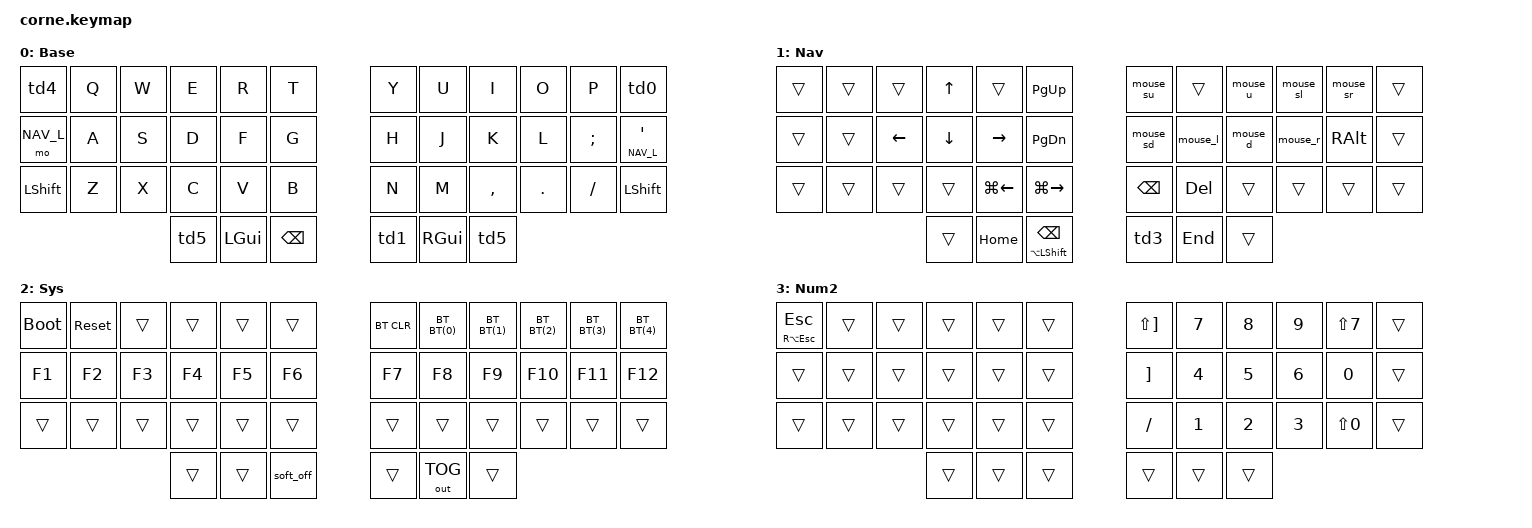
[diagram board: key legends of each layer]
/*
 * Copyright (c) 2022 Pete Johanson
 *
 * SPDX-License-Identifier: MIT
 */

// GLOBE as RA(ESC) via double tap + remapping in Karabiner / mouse pointer, scrolling and keys via remapping in Karabiner

#include <behaviors.dtsi>
#include <dt-bindings/zmk/keys.h>
#include <dt-bindings/zmk/bt.h>
#include <dt-bindings/zmk/outputs.h>

#define NAV_L 1
#define SYS_L 2
#define NUM_R 3

// Using layer taps on thumbs, having quick tap as well helps w/ repeating space/backspace
&lt { quick_tap_ms = <200>; };

#define BT(n) BT_SEL n

/ {
  macros {
        mouse_l: mouse_l {
            compatible = "zmk,behavior-macro";
            #binding-cells = <0>;
            bindings
                = <&macro_press &kp CAPSLOCK>
		, <&macro_press &kp J>
		, <&macro_pause_for_release>
		, <&macro_release &kp J>
                , <&macro_release &kp CAPSLOCK>
                ;
        };
	mouse_u: mouse_u {
            compatible = "zmk,behavior-macro";
            #binding-cells = <0>;
            bindings
                = <&macro_press &kp CAPSLOCK>
		, <&macro_press &kp I>
		, <&macro_pause_for_release>
		, <&macro_release &kp I>
                , <&macro_release &kp CAPSLOCK>
                ;
        };
	mouse_d: mouse_d {
            compatible = "zmk,behavior-macro";
            #binding-cells = <0>;
            bindings
                = <&macro_press &kp CAPSLOCK>
		, <&macro_press &kp K>
		, <&macro_pause_for_release>
		, <&macro_release &kp K>
                , <&macro_release &kp CAPSLOCK>
                ;
        };
	mouse_r: mouse_r {
            compatible = "zmk,behavior-macro";
            #binding-cells = <0>;
            bindings
                = <&macro_press &kp CAPSLOCK>
		, <&macro_press &kp L>
		, <&macro_pause_for_release>
		, <&macro_release &kp L>
                , <&macro_release &kp CAPSLOCK>
                ;
        };
	mouse_sd: mouse_sd {
            compatible = "zmk,behavior-macro";
            #binding-cells = <0>;
            bindings
                = <&macro_press &kp CAPSLOCK>
		, <&macro_press &kp H>
		, <&macro_pause_for_release>
		, <&macro_release &kp H>
                , <&macro_release &kp CAPSLOCK>
                ;
        };
	mouse_su: mouse_su {
            compatible = "zmk,behavior-macro";
            #binding-cells = <0>;
            bindings
                = <&macro_press &kp CAPSLOCK>
		, <&macro_press &kp Y>
		, <&macro_pause_for_release>
		, <&macro_release &kp Y>
                , <&macro_release &kp CAPSLOCK>
                ;
        };
	mouse_sl: mouse_sl {
            compatible = "zmk,behavior-macro";
            #binding-cells = <0>;
            bindings
                = <&macro_press &kp CAPSLOCK>
		, <&macro_press &kp O>
		, <&macro_pause_for_release>
		, <&macro_release &kp O>
                , <&macro_release &kp CAPSLOCK>
                ;
        };
	mouse_sr: mouse_sr {
            compatible = "zmk,behavior-macro";
            #binding-cells = <0>;
            bindings
                = <&macro_press &kp CAPSLOCK>
		, <&macro_press &kp P>
		, <&macro_pause_for_release>
		, <&macro_release &kp P>
                , <&macro_release &kp CAPSLOCK>
                ;
        };
	mouse_lbtn: mouse_lbtn {
            compatible = "zmk,behavior-macro";
            #binding-cells = <0>;
            bindings
                = <&macro_press &kp CAPSLOCK>
		, <&macro_press &kp SPACE>
		, <&macro_pause_for_release>
		, <&macro_release &kp SPACE>
                , <&macro_release &kp CAPSLOCK>
                ;
        };
	mouse_rbtn: mouse_rbtn {
            compatible = "zmk,behavior-macro";
            #binding-cells = <0>;
            bindings
                = <&macro_press &kp CAPSLOCK>
		, <&macro_press &kp RGUI>
		, <&macro_pause_for_release>
		, <&macro_release &kp RGUI>
                , <&macro_release &kp CAPSLOCK>
                ;
        };
    };
    
    behaviors {
	td0: hyphen_tap_dance {
		compatible = "zmk,behavior-tap-dance";
		label = "TD_HYPHY";
		#binding-cells = <0>;
		tapping-term-ms = <200>;
		bindings = <&kp LBKT>, <&kp NON_US_HASH>;
	};
	td1: space_tap_dance {
		compatible = "zmk,behavior-tap-dance";
		label = "TD_SPACY";
		#binding-cells = <0>;
		tapping-term-ms = <200>;
		bindings = <&kp SPACE>, <&kp RET>;
	};
	td2: bksp_mod_tap_dance {
		compatible = "zmk,behavior-tap-dance";
		label = "TD_BACKSPACY";
		#binding-cells = <0>;
		tapping-term-ms = <200>;
		bindings = <&kp BKSP>, <&mt RA(ESC) ESC>;
	};
	td3: mousebutton_tap_dance {
		compatible = "zmk,behavior-tap-dance";
		label = "TD_MOUSY";
		#binding-cells = <0>;
		tapping-term-ms = <200>;
		bindings = <&mouse_lbtn>, <&mouse_rbtn>;
	};
	td4: windowswitch_tap_dance {
		compatible = "zmk,behavior-tap-dance";
		label = "TD_SWITCHY";
		#binding-cells = <0>;
		tapping-term-ms = <200>;
		bindings = <&kp TAB>, <&kp LG(LS(EQUAL))>;
	};
	td5: option_control {
		compatible = "zmk,behavior-tap-dance";
		label = "TD_OPTCONT";
		#binding-cells = <0>;
		tapping-term-ms = <200>;
		bindings = <&kp LALT>, <&kp LCTRL>;
	};
	par: paranthesis_tap_dance {
		compatible = "zmk,behavior-tap-dance";
		label = "TD_PAR";
		#binding-cells = <0>;
		tapping-term-ms = <200>;
		bindings = <&kp LS(N8)>, <&kp LS(N9)>;
	};
	sqr: sqrbracket_tap_dance {
		compatible = "zmk,behavior-tap-dance";
		label = "TD_SQR";
		#binding-cells = <0>;
		tapping-term-ms = <200>;
		bindings = <&kp LA(N5)>, <&kp LA(N6)>;
	};
	ptd: ptdbracket_tap_dance {
		compatible = "zmk,behavior-tap-dance";
		label = "TD_PTD";
		#binding-cells = <0>;
		tapping-term-ms = <200>;
		bindings = <&kp GRAVE>, <&kp LS(GRAVE)>;
	};
	crly: crlybracket_tap_dance {
		compatible = "zmk,behavior-tap-dance";
		label = "TD_CRLY";
		#binding-cells = <0>;
		tapping-term-ms = <200>;
		bindings = <&kp LA(N8)>, <&kp LA(N9)>;
	};
	accent: accent_tap_dance {
		compatible = "zmk,behavior-tap-dance";
		label = "TD_ACNT";
		#binding-cells = <0>;
		tapping-term-ms = <200>;
		bindings = <&kp LS(EQUAL)>, <&kp EQUAL>;
	};
    };

  combos {
        compatible = "zmk,combos";
	combo_sys {
            timeout-ms = <50>;
            key-positions = <35 41>;
	    require-prior-idle-ms = <175>;
            bindings = <&mo SYS_L>;
        };
	combo_num {
            timeout-ms = <50>;
            key-positions = <39 40>;
	    require-prior-idle-ms = <175>;
            bindings = <&mo NUM_R>;
        };
	combo_ret {
            timeout-ms = <50>;
            key-positions = <19 22>;
	    require-prior-idle-ms = <175>;
            bindings = <&kp RET>;
        };
	combo_esc {
	    layers = <0 1>;
            timeout-ms = <50>;
            key-positions = <13 16>;
            bindings = <&mt RA(ESC) ESC>;
        };
	combo_capsword {
            timeout-ms = <50>;
            key-positions = <24 35>;
            bindings = <&caps_word>;
        };
	combo_backword {
            timeout-ms = <50>;
            key-positions = <38 39>;
            bindings = <&kp LA(BKSP)>;
        };
	combo_snglqt {
            timeout-ms = <50>;
            key-positions = <5 6>;
	    require-prior-idle-ms = <175>;
            bindings = <&kp LS(BSLH)>;
        };
	combo_slsh {
            timeout-ms = <50>;
            key-positions = <7 8>;
            bindings = <&kp LS(N7)>;
        };
	combo_vert {
            timeout-ms = <50>;
            key-positions = <8 9>;
            bindings = <&kp LA(N7)>;
        };
	combo_bkslsh {
            timeout-ms = <50>;
            key-positions = <9 10>;
            bindings = <&kp LA(LS(N7))>;
        };
	combo_deg {
            timeout-ms = <50>;
            key-positions = <12 13>;
            bindings = <&kp LS(NUBS)>;
        };
	combo_star {
            timeout-ms = <50>;
	    require-prior-idle-ms = <175>;
            key-positions = <14 15>;
            bindings = <&kp LS(RBKT)>;
        };
	combo_plus {
            timeout-ms = <50>;
            key-positions = <15 16>;
            bindings = <&kp RBKT>;
        };
	combo_dblqt {
            timeout-ms = <50>;
            key-positions = <17 18>;
            bindings = <&kp LS(N2)>;
        };
	combo_par {
            timeout-ms = <50>;
            key-positions = <19 20>;
            bindings = <&par>;
        };
	combo_sqr {
            timeout-ms = <50>;
            key-positions = <20 21>;
            bindings = <&sqr>;
        };
	combo_ptd {
            timeout-ms = <50>;
            key-positions = <21 22>;
            bindings = <&ptd>;
        };
	combo_crly {
            timeout-ms = <50>;
            key-positions = <22 23>;
            bindings = <&crly>;
        };
	combo_circ {
            timeout-ms = <50>;
            key-positions = <24 25>;
            bindings = <&kp NUBS>;
        };
	combo_prct {
            timeout-ms = <50>;
            key-positions = <25 26>;
            bindings = <&kp LS(N5)>;
        };
	combo_hash {
            timeout-ms = <50>;
	    require-prior-idle-ms = <175>;
            key-positions = <26 27>;
            bindings = <&kp BSLH>;
        };
	combo_amprsnd {
            timeout-ms = <50>;
            key-positions = <27 28>;
            bindings = <&kp LS(N6)>;
        };
	combo_acnt {
            timeout-ms = <50>;
            key-positions = <29 30>;
            bindings = <&accent>;
        };
	combo_em {
            timeout-ms = <50>;
            key-positions = <31 32>;
            bindings = <&kp LA(SLASH)>;
        };
	combo_excl {
            timeout-ms = <50>;
            key-positions = <32 33>;
            bindings = <&kp LS(N1)>;
        };
	combo_qstn {
            timeout-ms = <50>;
            key-positions = <33 34>;
            bindings = <&kp LS(NUHS)>;
        };
	combo_eqls {
            timeout-ms = <50>;
            key-positions = <34 35>;
            bindings = <&kp LS(N0)>;
        };

// numbers combos
	combo_seven {
            timeout-ms = <50>;
            key-positions = <4 7>;
	    require-prior-idle-ms = <175>;
            bindings = <&kp N7>;
        };
	combo_eight {
            timeout-ms = <50>;
            key-positions = <3 8>;
	    require-prior-idle-ms = <175>;
            bindings = <&kp N8>;
        };
	combo_nine {
            timeout-ms = <50>;
            key-positions = <2 9>;
	    require-prior-idle-ms = <175>;
            bindings = <&kp N9>;
        };
	combo_zerotop {
            timeout-ms = <50>;
            key-positions = <1 10>;
	    require-prior-idle-ms = <175>;
            bindings = <&kp N0>;
        };
	combo_four {
            timeout-ms = <50>;
            key-positions = <16 19>;
	    require-prior-idle-ms = <175>;
            bindings = <&kp N4>;
        };
	combo_five {
            timeout-ms = <50>;
            key-positions = <15 20>;
	    require-prior-idle-ms = <175>;
            bindings = <&kp N5>;
        };
	combo_six {
            timeout-ms = <50>;
            key-positions = <14 21>;
	    require-prior-idle-ms = <175>;
            bindings = <&kp N6>;
        };
	combo_zeromiddle {
            timeout-ms = <50>;
            key-positions = <13 22>;
	    require-prior-idle-ms = <175>;
            bindings = <&kp N0>;
        };
	combo_one {
            timeout-ms = <50>;
            key-positions = <28 31>;
	    require-prior-idle-ms = <175>;
            bindings = <&kp N1>;
        };
	combo_two {
            timeout-ms = <50>;
            key-positions = <27 32>;
	    require-prior-idle-ms = <175>;
            bindings = <&kp N2>;
        };
	combo_three {
            timeout-ms = <50>;
            key-positions = <26 33>;
	    require-prior-idle-ms = <175>;
            bindings = <&kp N3>;
        };
	combo_zerobottom {
            timeout-ms = <50>;
            key-positions = <25 34>;
	    require-prior-idle-ms = <175>;
            bindings = <&kp N0>;
        };
    };

    keymap {
        compatible = "zmk,keymap";
        base_layer {
            label = "Base";
            bindings = <
 &td4    &kp Q      &kp W      &kp E      &kp R       &kp T           &kp Y    &kp U       &kp I       &kp O      &kp P     &td0
 &mo NAV_L  &kp A   &kp S      &kp D      &kp F       &kp G           &kp H    &kp J       &kp K       &kp L      &kp SEMI  &lt NAV_L QUOT
 &kp LSHFT  &kp Z   &kp X      &kp C      &kp V       &kp B           &kp N    &kp M       &kp COMMA   &kp DOT    &kp FSLH  &kp LSHIFT
                               &td5   	  &kp LGUI    &kp BKSP        &td1     &kp RGUI    &td5   
            >;
        };

        nav_layer {
            label = "Nav";
            bindings = <
&trans	   &trans     &trans     &kp UP      &trans        &kp PG_UP    	&mouse_su    &trans       &mouse_u      &mouse_sl  &mouse_sr  &trans
&trans     &trans     &kp LEFT   &kp DOWN    &kp RIGHT     &kp PG_DN    	&mouse_sd    &mouse_l     &mouse_d      &mouse_r   &kp RALT   &trans
&trans     &trans     &trans  	 &trans      &kp LG(LEFT)  &kp LG(RIGHT) 	&kp BKSP     &kp DEL      &trans        &trans     &trans     &trans
                                 &trans      &kp HOME      &mt LA(LSHIFT) BKSP 	&td3         &kp END      &trans      
            >;
        };

        sys_layer {
            label = "Sys";
            bindings = <
&bootloader  &sys_reset  &trans &trans 	&trans    &trans    &bt BT_CLR &bt BT(0)    &bt BT(1)   &bt BT(2)    &bt BT(3)  &bt BT(4)
&kp F1       &kp F2   	&kp F3 	&kp F4 	&kp F5    &kp F6    &kp F7     &kp F8       &kp F9      &kp F10      &kp F11    &kp F12
&trans       &trans	&trans 	&trans 	&trans    &trans    &trans     &trans       &trans      &trans       &trans     &trans
                                &trans  &trans    &soft_off &trans     &out OUT_TOG &trans      
            >;
        };

num2_layer {
            label = "Num2";
            bindings = <
&mt RA(ESC) ESC &trans  &trans 	&trans 	&trans    &trans   &kp LS(RBKT) &kp N7     &kp N8      &kp N9       &kp LS(N7) &trans
&trans     	&trans	&trans 	&trans 	&trans    &trans   &kp RBKT  	&kp N4     &kp N5      &kp N6       &kp N0     &trans
&trans     	&trans	&trans 	&trans 	&trans    &trans   &kp FSLH    	&kp N1     &kp N2      &kp N3       &kp LS(N0) &trans
                        	&trans  &trans    &trans   &trans       &trans     &trans      
            >;
        };

    };
};
